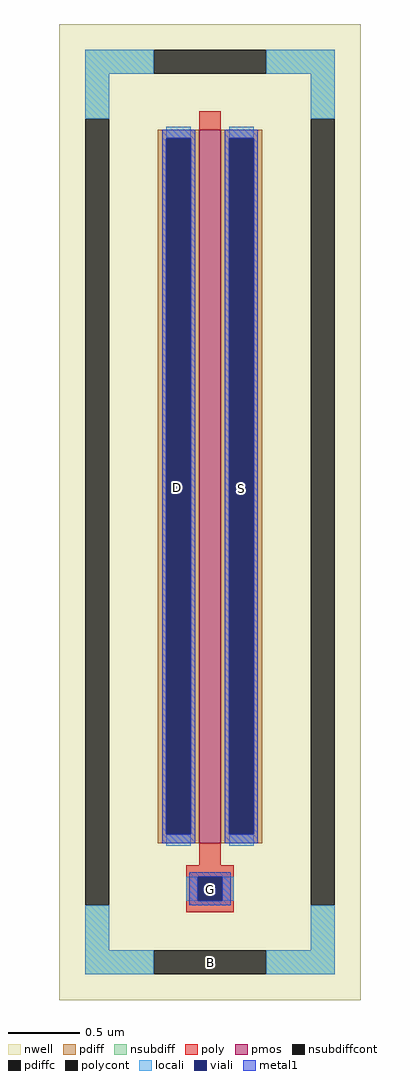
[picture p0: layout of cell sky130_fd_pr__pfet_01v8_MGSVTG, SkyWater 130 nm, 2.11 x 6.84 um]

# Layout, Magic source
magic
tech sky130A
magscale 1 2
<< nwell >>
rect -211 -684 211 684
<< pmos >>
rect -15 -464 15 536
<< pdiff >>
rect -73 524 -15 536
rect -73 -452 -61 524
rect -27 -452 -15 524
rect -73 -464 -15 -452
rect 15 524 73 536
rect 15 -452 27 524
rect 61 -452 73 524
rect 15 -464 73 -452
<< pdiffc >>
rect -61 -452 -27 524
rect 27 -452 61 524
<< nsubdiff >>
rect -175 614 -79 648
rect 79 614 175 648
rect -175 551 -141 614
rect 141 551 175 614
rect -175 -614 -141 -551
rect 141 -614 175 -551
rect -175 -648 -79 -614
rect 79 -648 175 -614
<< nsubdiffcont >>
rect -79 614 79 648
rect -175 -551 -141 551
rect 141 -551 175 551
rect -79 -648 79 -614
<< poly >>
rect -15 536 15 562
rect -15 -495 15 -464
rect -33 -511 33 -495
rect -33 -545 -17 -511
rect 17 -545 33 -511
rect -33 -561 33 -545
<< polycont >>
rect -17 -545 17 -511
<< locali >>
rect -175 614 -79 648
rect 79 614 175 648
rect -175 551 -141 614
rect 141 551 175 614
rect -61 524 -27 540
rect -61 -468 -27 -452
rect 27 524 61 540
rect 27 -468 61 -452
rect -33 -545 -17 -511
rect 17 -545 33 -511
rect -175 -614 -141 -551
rect 141 -614 175 -551
rect -175 -648 -79 -614
rect 79 -648 175 -614
<< viali >>
rect -61 -452 -27 524
rect 27 -452 61 524
rect -17 -545 17 -511
<< metal1 >>
rect -67 524 -21 536
rect -67 -452 -61 524
rect -27 -452 -21 524
rect -67 -464 -21 -452
rect 21 524 67 536
rect 21 -452 27 524
rect 61 -452 67 524
rect 21 -464 67 -452
rect -29 -511 29 -505
rect -29 -545 -17 -511
rect 17 -545 29 -511
rect -29 -551 29 -545
<< labels >>
flabel metal1 s -45 34 -45 34 0 FreeSans 480 0 0 0 D
port 16 nsew
flabel metal1 s 44 33 44 33 0 FreeSans 480 0 0 0 S
port 17 nsew
flabel metal1 s 0 -529 0 -529 0 FreeSans 480 0 0 0 G
port 18 nsew
flabel locali s 0 -631 0 -631 0 FreeSans 480 0 0 0 B
port 19 nsew
<< properties >>
string FIXED_BBOX -158 -631 158 631
string gencell sky130_fd_pr__pfet_01v8
string library sky130
string parameters w 5.0 l 0.15 m 1 nf 1 diffcov 100 polycov 100 guard 1 glc 1 grc 1 gtc 1 gbc 1 tbcov 100 rlcov 100 topc 0 botc 1 poverlap 0 doverlap 1 lmin 0.15 wmin 0.42 compatible {sky130_fd_pr__pfet_01v8  sky130_fd_pr__pfet_01v8_lvt sky130_fd_pr__pfet_01v8_hvt  sky130_fd_pr__pfet_g5v0d10v5} full_metal 1 viasrc 100 viadrn 100 viagate 100 viagb 0 viagr 0 viagl 0 viagt 0
<< end >>
